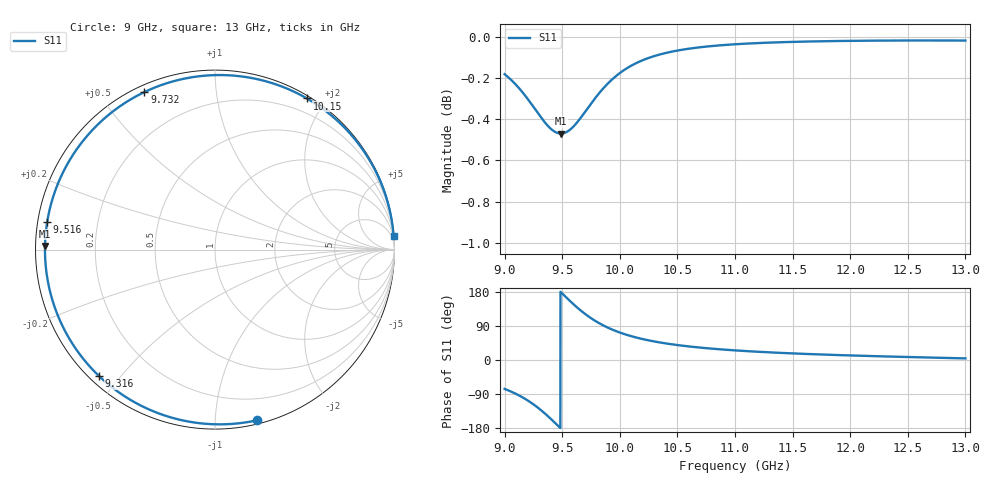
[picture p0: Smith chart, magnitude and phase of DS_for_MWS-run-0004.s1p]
! TOUCHSTONE file generated by CST DESIGN STUDIO
! Date and time: Wed Feb  5 13:37:18 2025
! Project name: C:\Work\MatlabApps\UnitCellOptimizationMatlab\CST\unitcell.cst
! Tree item: Tasks\Sweep1\SPara1\S-Parameters
! Header version: 2024
! Port assignment regex: !\s*Touchstone port\s*([0-9]+)\s*=\s*(CST MWS port|CST DES external port|CST DES block port)\s*(.+)\s* \(\"(.*)\"\)(\s*mode\s*([0-9]+))?.*
! Touchstone port assignment:
! Touchstone port 1 = CST DES external port 1 ("")
# GHz S MA R 50
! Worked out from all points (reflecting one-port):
!   4001 points, 9 GHz to 13 GHz, reference 50 ohm
!   lowest |S11| = -0.5 dB at 9.489 GHz (marker M1), VSWR 37.01, Z = 1.35 + j0.524 ohm
!   phase of S11 starts at -76 deg and turns -279 deg over the sweep
!   S11 on the Smith chart (normalised r, x): 9 GHz: 0.03, -1.27; 9.316 GHz: 0.03, -0.44; 9.516 GHz: 0.03, +0.08; 9.732 GHz: 0.03, +0.65; 10.15 GHz: 0.03, +1.78; 13 GHz: 1, +27
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9  0.9794 -76.3
9.081  0.9747 -86.8
9.181  0.9675 -103.1
9.251  0.9616 -117.2
9.316  0.956 -132.4
9.362  0.9524 -144.4
9.41  0.9494 -157.9
9.45  0.9479 -169.6
9.489  0.9474 178.8
9.5  0.9474 175.5
9.516  0.9476 170.7
9.568  0.9494 155.5
9.628  0.9532 139.0
9.679  0.9573 126.2
9.732  0.9618 114.2
9.786  0.9663 103.4
9.846  0.9709 93.0
9.922  0.9759 81.9
10  0.98 72.5
10.151  0.9857 58.7
10.309  0.9895 48.4
10.5  0.9924 39.4
10.722  0.9944 32.0
11  0.9959 25.4
11.5  0.9972 17.4
12  0.9978 12.0
12.5  0.998 7.9
13  0.998 4.3
